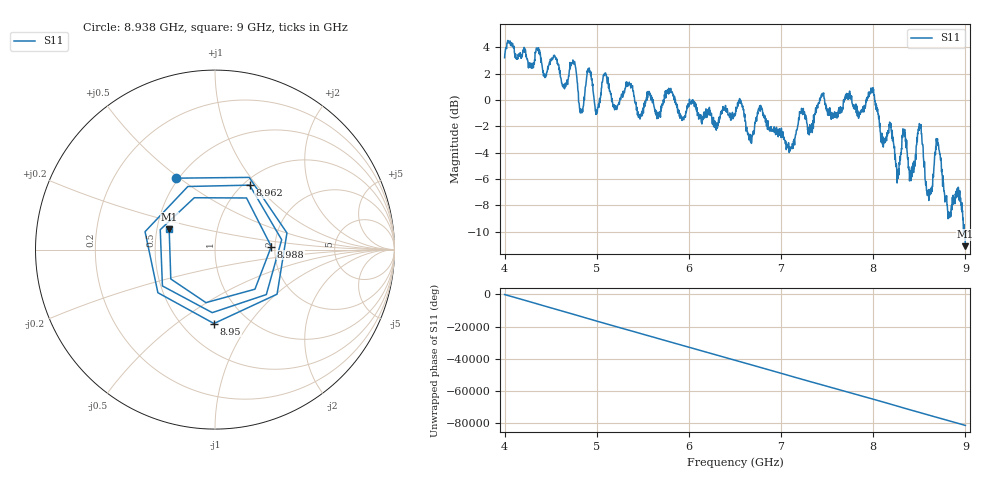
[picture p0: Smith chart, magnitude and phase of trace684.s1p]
! Created with skrf 1.8.0 (http://scikit-rf.org).
# Hz S RI R 50.0
!freq ReS11 ImS11
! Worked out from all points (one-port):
!   1601 points, 4 GHz to 9 GHz, reference 50 ohm
!   lowest |S11| = -11.1 dB at 9 GHz (marker M1), VSWR 1.77, Z = 29 + j7.05 ohm
!   |S11| at or under -10 dB: 8.979858 GHz to 8.981604 GHz (1.746 MHz wide, 0.0194 % of centre); 8.98761 GHz to end of sweep
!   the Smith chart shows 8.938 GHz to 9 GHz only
!   S11 on the Smith chart (normalised r, x): 8.938 GHz: 0.49, +0.49; 8.95 GHz: 0.70, -0.70; 8.962 GHz: 1.07, +0.92; 8.988 GHz: 1.91, +0.07; 9 GHz: 0.58, +0.14
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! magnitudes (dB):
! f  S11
! 4 GHz  3.2
! 4.544 GHz  3.4
! 4.625 GHz  1.2
! 4.741 GHz  3.0
! 4.828 GHz  -0.8
! 4.912 GHz  2.2
! 4.997 GHz  -0.9
! 5.084 GHz  2.0
! 5.25 GHz  0.0
! 5.875 GHz  -0.5
! 6.5 GHz  -1.2
! 7.125 GHz  -3.4
! 7.225 GHz  -0.9
! 7.75 GHz  0.5
! 7.988 GHz  0.7
! 8.259 GHz  -6.3
! 8.338 GHz  -2.5
! 8.375 GHz  -4.5
! 8.419 GHz  -5.8
! 8.506 GHz  -2.2
! 8.603 GHz  -7.6
! 8.694 GHz  -3.2
! 8.816 GHz  -8.5
! 8.938 GHz  -6.9
! 8.95 GHz  -7.7
! 8.962 GHz  -7.8
! 8.988 GHz  -10.1
! 9 GHz  -11.1
